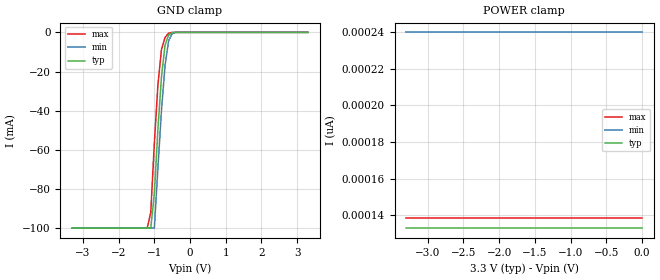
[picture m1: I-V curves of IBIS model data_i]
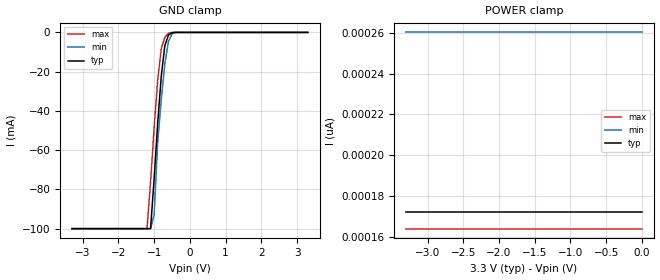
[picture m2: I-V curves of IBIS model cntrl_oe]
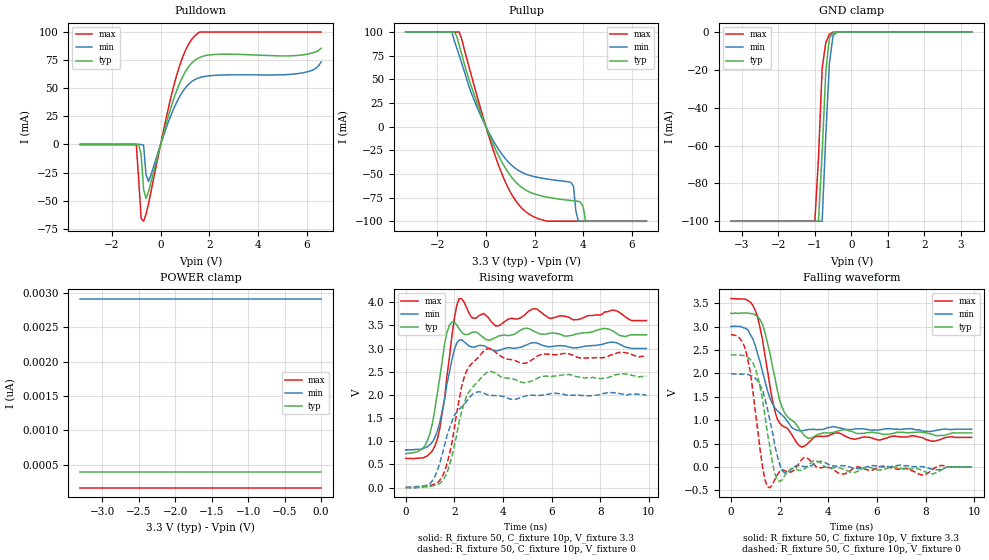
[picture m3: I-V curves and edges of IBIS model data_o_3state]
|   ON Semiconductor Corporation
|   IBIS Model of NL17SZ126DF
|   Non-inverting 3-state Buffer
|   SC-88A/ SOT-353/ SC-70 (DF) Package Type
[IBIS Ver]   3.2
[Comment Char]   |_char
[File name]   nl17sz126df_300.ibs
[File Rev]   1.0
[Date]   02/03/03
[Source]
From lab measurements at ON Semiconductor
[Notes]
Created by Duane Mattheisen
Modeling Support Engineer
| This model represents the NL17SZ126DF where 3.0 <= Vcc =< 3.6
[Disclaimer]
ON Semiconductor Corporation hereby grants
the user of this IBIS model a license to use this IBIS
model under the following terms. This license in non-exclusive
and non-transferable. Before using this IBIS model. After reading
the terms and conditions of this license, the user either must accept
these terms, or the IBIS model should be returned to ON within 30 days.
     The user is hereby granted a license to use the
IBIS model. This shall not be construed as a right to sell, or otherwise
profit either by leasing or renting this software.
     The user may modify the IBIS model to suit his specific applications
but rights to derivative works and such modifications shall belong to
ON Semiconductor.
     This IBIS model is provided on an "as is" basis. ON Semiconductor
makes absolutely no warranty with respect to the information contained
herein. By use of this IBIS model, the user assumes full risk as to the
quality and suitablility of the model to his particular use, and by using
this model assumes the entire risk. Under all circumstances the user shall
not hold ON Semiconductor liable in any way for the results obtained. ON
Semiconductor reserves the right to make to improve the model for reliability,
function, or design. ON Semiconductor does not convey any license under patent
rights or any other intellectual property rights, including those of third
parties.
ON Semiconductor is not obligated to provide maintenance or support
for the licensed IBIS model.
Cont ON at ATTN:LOGIC APPLICATIONS/IBIS MODEL.
5005 E. McDowell Road, Phoenix AZ 85008
[Copyright]
(c) 2002 ON Semiconductor Corp.
[Component]   NL17SZ126DF
Si_location Pin
Timing_location Pin
[Manufacturer]   ON Semiconductor Corp.
[Package]
|   typ   min   max
R_pkg   0.025   0.021   0.029
L_pkg   1.529nH   1.312nH   1.906nH
C_pkg   0.156pF   0.110pF   0.240pF
[Pin] signal_name   model_name   R_pin   L_pin   C_pin
1   OE   cntrl_oe   0.021   1.511nH   0.144pF
2   INA   data_i   0.023   1.312nH   0.138pF
3   GND   GND   0.029   1.906nH   0.240pF
4   OUTY   data_o_3state   0.026   1.541nH   0.150pF
5   VCC   POWER   0.025   1.374nH   0.110pF
| Models and submodels in the file (3): data_i (Input), cntrl_oe (Input), data_o_3state (3-state)
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[Model]   data_i
Model_type Input
Vinh=2.31
Vinl=.99
| variable   typ   min   max
C_comp   1.9pf   1.9pf   1.9pf
[Temperature Range] 25   85   -40
[Voltage Range]  3.3   3.0   3.6
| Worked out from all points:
|   GND clamp passes 1 mA (typ) near -0.57 V on its own axis
[GND Clamp]
-3.3V     -100mA     -100mA     -100mA
-1.2V     -100mA     -100mA     -100mA
-1.1V     -100mA     -100mA     -91.99mA
-1V       -82.4mA    -100mA     -56.76mA
-900mV    -49.57mA   -69.43mA   -26.95mA
-800mV    -22.69mA   -39.9mA    -8.742mA
-700mV    -6.482mA   -16.94mA   -2.585mA
-600mV    -1.341mA   -4.319mA   -400uA
-500mV    -139.7uA   -640.5uA   -11.2uA
-400mV    -4.771uA   -47.03uA   -112.8nA
3.3V      92.15pA    142.1pA    87.5pA
[POWER Clamp]
-3.3V     132.9pA    239.8pA    138.5pA
-3.2V     132.9pA    239.8pA    138.5pA
-3.1V     132.9pA    239.8pA    138.5pA
0V        132.9pA    239.8pA    138.5pA
[Model]   cntrl_oe
Model_type Input
Vinh=2.31
Vinl=.99
| variable   typ   min   max
C_comp   1.9pf   1.9pf   1.9pf
[Temperature Range] 25   85   -40
[Voltage Range] 3.3   3.0   3.6
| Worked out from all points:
|   GND clamp passes 1 mA (typ) near -0.57 V on its own axis
[GND Clamp]
-3.3V     -100mA     -99.99mA   -100mA
-1.2V     -100mA     -99.99mA   -100mA
-1.1V     -100mA     -99.99mA   -76.35mA
-1V       -74.48mA   -92.93mA   -48.46mA
-900mV    -46.06mA   -55.71mA   -24.19mA
-800mV    -22.13mA   -33.96mA   -8.269mA
-700mV    -6.631mA   -15.95mA   -2.48mA
-600mV    -1.371mA   -4.6mA     -395.3uA
-500mV    -147.8uA   -726.7uA   -11.56uA
-400mV    -5.317uA   -56.48uA   -119.3nA
3.3V      -90.17pA   159.3pA    113.4pA
[POWER Clamp]
-3.3V     172.1pA    260.2pA    164pA
-3.2V     172.1pA    260.2pA    164pA
-3.1V     172.1pA    260.2pA    164pA
0V        172.1pA    260.2pA    164pA
[Model]   data_o_3state
Model_type 3-state
Enable Active-High
Polarity Non-Inverting
Vref=0
Vmeas=1.50
Rref=500
Cref=50p
| variable   typ   min   max
C_comp   4.1pf   3.075pf   5.125pf
[Temperature Range] 25   85   -40
[Voltage Range]  3.3   3.0   3.6
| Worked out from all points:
|   slope of the pulldown table from 0 to 0.495 V, typ, clamps not added: 13.1 ohm
|   slope of the pullup table from 0 to 0.495 V, typ, clamps not added: 16.8 ohm
|   GND clamp passes 1 mA (typ) near -0.52 V on its own axis
|   falling waveform, R_fixture 50, C_fixture 10p, V_fixture 3.3: 20-80 % time 692ps typ, 816ps min, 610ps max; typ from 3.29 V to 0.728 V
|   falling waveform, R_fixture 50, C_fixture 10p, V_fixture 0: 20-80 % time 476ps typ, 509ps min, 446ps max; typ from 2.4 V to 0 V
|   rising waveform, R_fixture 50, C_fixture 10p, V_fixture 3.3: 20-80 % time 483ps typ, 510ps min, 461ps max; typ from 0.733 V to 3.3 V
|   rising waveform, R_fixture 50, C_fixture 10p, V_fixture 0: 20-80 % time 671ps typ, 724ps min, 620ps max; typ from 0.001 V to 2.4 V
[Pullup]
-3.3V     100mA      100mA      100mA
-1.4V     100mA      100mA      100mA
-1.1V     86.36mA    75.42mA    100mA
-400mV    27.69mA    22.68mA    35.57mA
500mV     -29.67mA   -23.17mA   -39.42mA
1.6V      -66.38mA   -49.69mA   -89.12mA
3.5V      -78.03mA   -59.1mA    -99.99mA
3.6V      -78.29mA   -62.95mA   -99.99mA
3.8V      -78.87mA   -100mA     -99.99mA
4V        -84.83mA   -100mA     -99.99mA
4.1V      -100mA     -100mA     -99.99mA
6.6V      -100mA     -100mA     -99.99mA
[Pulldown]
-3.3V     0A         0A         0A
-1V       0A         0A         0A
-900mV    0A         0A         -31.72mA
-800mV    -9.101mA   0A         -65.98mA
-700mV    -40mA      -678uA     -68.35mA
-600mV    -48.02mA   -26.75mA   -62.16mA
-500mV    -42.02mA   -32.96mA   -52.9mA
600mV     44.37mA    34.81mA    56.95mA
1V        64.08mA    49.82mA    82.65mA
1.4V      74.73mA    57.61mA    96.49mA
5.7V      79.31mA    63.2mA     100mA
6.6V      85.53mA    73.35mA    100mA
[GND Clamp]
-3.3V     -100mA     -100mA     -100mA
-1V       -100mA     -100mA     -100mA
-900mV    -100mA     -100mA     -66.62mA
-800mV    -63.71mA   -100mA     -19.37mA
-700mV    -20.81mA   -54.51mA   -5.521mA
-600mV    -3.157mA   -16.36mA   -1.165mA
-500mV    -441.1uA   -1.818mA   -48.49uA
-400mV    -19.95uA   -177.5uA   -582.6nA
3.3V      -89.42pA   449.3pA    -46.96pA
[POWER Clamp]
-3.3V     389.4pA    2.918nA    165.2pA
-3.2V     389.4pA    2.918nA    165.2pA
-3.1V     389.4pA    2.918nA    165.2pA
0V        389.4pA    2.918nA    165.2pA
[Ramp]
dV/dt_r   1.397E+0/0.658E-9   1.150E+0/0.754E-9   1.629E+0/0.624E-9
dV/dt_f   1.510E+0/0.710E-9   1.310E+0/0.833E-9   1.720E+0/0.602E-9
[Falling Waveform]
R_fixture=50
C_fixture=10p
V_fixture=3.3
V_fixture_min=3.0
V_fixture_max=3.6
|Time   Typ   Min   Max
|SECONDS   VOLTS   VOLTS   VOLTS
0s        3.288V     3.005V     3.601V
700ps     3.289V     2.929V     3.562V
1ns       3.255V     2.599V     3.351V
1.2ns     3.152V     2.246V     2.97V
1.6ns     2.444V     1.476V     1.743V
1.9ns     1.666V     1.208V     1.031V
2.2ns     1.162V     1.061V     854.6mV
2.9ns     751.4mV    774.1mV    426.8mV
4.4ns     771.4mV    840.9mV    729mV
9.9ns     728.5mV    808.8mV    631.8mV
[Falling Waveform]
R_fixture=50
C_fixture=10p
V_fixture=0
|Time   Typ   Min   Max
|SECONDS   VOLTS   VOLTS   VOLTS
0s        2.401V     1.993V     2.83V
600ps     2.371V     1.981V     2.506V
800ps     2.301V     1.962V     2.031V
1.1ns     1.938V     1.843V     794.3mV
1.5ns     732mV      1.247V     -421.4mV
1.8ns     -131.5mV   477mV      -274.2mV
2.2ns     -191.8mV   -122.8mV   -77.38mV
3.4ns     136.2mV    59.49mV    64.17mV
5ns       -120.6mV   -22.11mV   -40.87mV
9.9ns     53.46uV    592.5uV    1.607mV
[Rising Waveform]
R_fixture=50
C_fixture=10p
V_fixture=3.3
V_fixture_min=3.0
V_fixture_max=3.6
|Time   Typ   Min   Max
|SECONDS   VOLTS   VOLTS   VOLTS
0s        732.6mV    813.7mV    632mV
800ps     910.1mV    861.3mV    660.1mV
1.3ns     2.025V     1.214V     1.037V
1.7ns     3.354V     2.245V     2.417V
2ns       3.569V     2.969V     3.643V
2.2ns     3.427V     3.181V     4.075V
2.7ns     3.345V     3.037V     3.678V
3.7ns     3.235V     2.95V      3.49V
5.3ns     3.367V     3.128V     3.861V
9.9ns     3.297V     3.002V     3.603V
[Rising Waveform]
R_fixture=50
C_fixture=10p
V_fixture=0
|Time   Typ   Min   Max
|SECONDS   VOLTS   VOLTS   VOLTS
0s        521.9uV    863.5uV    5.233mV
1ns       27.24mV    81.88mV    43.13mV
1.5ns     134.7mV    714mV      232.5mV
2ns       897.1mV    1.553V     1.275V
2.4ns     1.814V     1.789V     2.369V
2.8ns     2.192V     2.042V     2.717V
3.3ns     2.468V     2.018V     2.981V
4.8ns     2.267V     1.95V      2.68V
5.7ns     2.403V     2.002V     2.883V
9.9ns     2.401V     1.988V     2.834V
